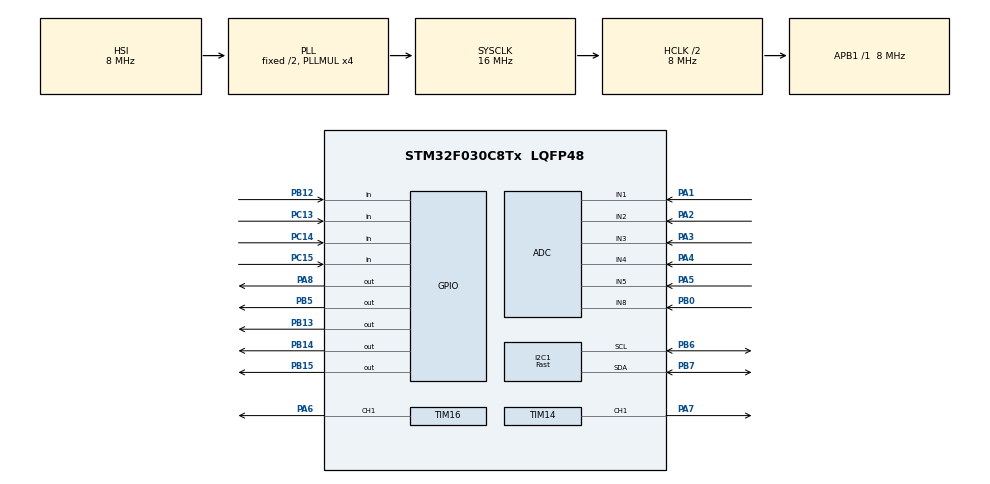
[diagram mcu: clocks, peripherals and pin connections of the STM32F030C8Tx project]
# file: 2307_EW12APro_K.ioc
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ADC.ClockPrescaler=ADC_CLOCK_SYNC_PCLK_DIV4
ADC.SamplingTime=ADC_SAMPLETIME_239CYCLES_5
Dma.ADC.0.Direction=DMA_PERIPH_TO_MEMORY
Dma.ADC.0.Instance=DMA1_Channel1
Dma.ADC.0.MemDataAlignment=DMA_MDATAALIGN_HALFWORD
Dma.ADC.0.MemInc=DMA_MINC_ENABLE
Dma.ADC.0.Mode=DMA_NORMAL
Dma.ADC.0.PeriphDataAlignment=DMA_PDATAALIGN_HALFWORD
Dma.ADC.0.PeriphInc=DMA_PINC_DISABLE
Dma.ADC.0.Priority=DMA_PRIORITY_LOW
Dma.Request0=ADC
I2C1.I2C_Speed_Mode=I2C_Fast
I2C1.Timing=0x0000020B
Mcu.Family=STM32F0
Mcu.Name=STM32F030C8Tx
Mcu.Package=LQFP48
NVIC.DMA1_Channel1_IRQn=true\:0\:0\:false\:false\:true\:false\:true\:true
NVIC.TIM14_IRQn=true\:0\:0\:false\:false\:true\:true\:true\:true
NVIC.TIM6_IRQn=true\:0\:0\:false\:false\:true\:true\:true\:true
PA1.Mode=IN1
PA1.Signal=ADC_IN1
PA13.Mode=Serial_Wire
PA13.Signal=SYS_SWDIO
PA14.Mode=Serial_Wire
PA14.Signal=SYS_SWCLK
PA2.Mode=IN2
PA2.Signal=ADC_IN2
PA3.Mode=IN3
PA3.Signal=ADC_IN3
PA4.Mode=IN4
PA4.Signal=ADC_IN4
PA5.Mode=IN5
PA5.Signal=ADC_IN5
PA6.Signal=S_TIM16_CH1
PA7.Signal=S_TIM14_CH1
PA8.Signal=GPIO_Output
PB0.Mode=IN8
PB0.Signal=ADC_IN8
PB12.Signal=GPIO_Input
PB13.Signal=GPIO_Output
PB14.Signal=GPIO_Output
PB15.Signal=GPIO_Output
PB5.Signal=GPIO_Output
PB6.GPIO_Pu=GPIO_PULLUP
PB6.Mode=I2C
PB6.Signal=I2C1_SCL
PB7.GPIO_Pu=GPIO_PULLUP
PB7.Mode=I2C
PB7.Signal=I2C1_SDA
PC13.Signal=GPIO_Input
PC14-OSC32_IN.Signal=GPIO_Input
PC15-OSC32_OUT.Signal=GPIO_Input
ProjectManager.HeapSize=0x200
ProjectManager.StackSize=0x400
ProjectManager.TargetToolchain=STM32CubeIDE
RCC.AHBCLKDivider=RCC_SYSCLK_DIV2
RCC.AHBFreq_Value=8000000
RCC.APB1Freq_Value=8000000
RCC.APB1TimFreq_Value=8000000
RCC.HCLKFreq_Value=8000000
RCC.PLLMUL=RCC_PLL_MUL4
RCC.SYSCLKFreq_VALUE=16000000
RCC.SYSCLKSource=RCC_SYSCLKSOURCE_PLLCLK
SH.S_TIM14_CH1.0=TIM14_CH1,PWM Generation1 CH1
SH.S_TIM16_CH1.0=TIM16_CH1,PWM Generation1 CH1
TIM14.Channel=TIM_CHANNEL_1
TIM14.Period=9999
TIM14.Prescaler=7
TIM14.Pulse=4999
TIM16.Channel=TIM_CHANNEL_1
TIM16.Period=9999
TIM16.Prescaler=7
TIM16.Pulse=4999
TIM6.Period=9999
TIM6.Prescaler=779
VP_ADC_TempSens_Input.Mode=IN-TempSens
VP_ADC_Vref_Input.Mode=IN-Vrefint
VP_TIM14_VS_ClockSourceINT.Mode=Enable_Timer
VP_TIM16_VS_ClockSourceINT.Mode=Enable_Timer
VP_TIM6_VS_ClockSourceINT.Mode=Enable_Timer
board=custom

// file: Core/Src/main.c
/* USER CODE BEGIN Header */
/**
  ******************************************************************************
  * @file           : main.c
  * @brief          : Main program body
  ******************************************************************************
  * @attention
  *
  * <h2><center>&copy; Copyright (c) 2020 STMicroelectronics.
  * All rights reserved.</center></h2>
  *
  * This software component is licensed by ST under BSD 3-Clause license,
  * the "License"; You may not use this file except in compliance with the
  * License. You may obtain a copy of the License at:
  *                        opensource.org/licenses/BSD-3-Clause
  *
  ******************************************************************************
  */
/* USER CODE END Header */
#include "main.h"
#include "adc.h"
#include "dma.h"
#include "i2c.h"
#include "tim.h"
#include "gpio.h"

/* USER CODE BEGIN Includes */

#include "sc8915.h"
#include "OLED_SSD1306.h"
#include <stdio.h>

/* USER CODE END Includes */

/* USER CODE BEGIN PV */
uint16_t ccr = 0;
volatile uint16_t adcval[8];
char RcvData[32];
char* currentline;
int nError = 0;
int gCount_SCREEN_IDLE_TIME = 0;
int gCount_FullMode_setting_Time = 0;

/* USER CODE END PV */

void SystemClock_Config(void);
/* USER CODE BEGIN PFP */

//void SC8915_W_Command(uint8_t cmd , uint8_t data);
//void SC8915_R_DATA(uint8_t reg, uint8_t* data_buffer, uint16_t buffer_size);

/* USER CODE END PFP */

int main(void)
{
  /* USER CODE BEGIN 1 */
  int count_acc = 0;
  int i;
//  uint8_t page,column;
  uint8_t read_buff[10]={0};
  int mV_VBUS = 0,mV_VBAT = 0,mA_IBUS = 0,mA_IBAT = 0;
  currentline = RcvData;

  int old_ModeOfSwitch = 0;
  /* USER CODE END 1 */

  /* MCU Configuration--------------------------------------------------------*/

  /* Reset of all peripherals, Initializes the Flash interface and the Systick. */
  HAL_Init();

  /* Configure the system clock */
  SystemClock_Config();

  /* Initialize all configured peripherals */
  MX_GPIO_Init();
  MX_DMA_Init();
  MX_I2C1_Init();
  MX_TIM14_Init();
  MX_TIM16_Init();
  MX_ADC_Init();
  MX_TIM6_Init();
  /* USER CODE BEGIN 2 */

  HAL_TIM_PWM_Start(&htim14 , TIM_CHANNEL_1);
  HAL_TIM_PWM_Start(&htim16 , TIM_CHANNEL_1);
  HAL_TIM_Base_Start_IT(&htim14); // 10ms interrupt
  HAL_TIM_Base_Start_IT(&htim6);  // 1s interrupt

  IN_EN1_voltage_Off();
  IN_EN2_voltage_Off();
  OUT_EN_voltage_Off();
  SC8915_PSTOP_Off();

  OLED_Init();
  OLED_Screen_Clear();

  TIM16->CCR1 = 0;

//  SC8915_init();
  HAL_Delay(10);

//  OLED_image_test_ener();
//  OLED_image_test_iROAD();
  OLED_image_Loading();
//  HAL_Delay(1000);
  OLED_Screen_Clear();
  OLED_SetScreenOn(); // 2021.04.05
  /* USER CODE END 2 */

  /* Infinite loop */
  /* USER CODE BEGIN WHILE */
  while (1)
  {
	if(isSwitchFirstMode())
	{
		if(old_ModeOfSwitch != 1)
		{
			gCount_SCREEN_IDLE_TIME = 0;
			old_ModeOfSwitch = 1;
		}
		OLED_SCREEN_ON();
		if( is_IN_EN_ON() )
//			if(isACC1on())
		{
			if (gCount_FullMode_setting_Time >= FULLMODE_ACTION_TEME){
				SC8915_FULL_mode();
			}
			else{
				SC8915_HALF_mode();
			}
			HAL_Delay(10);
			SC8915_R_DATA(0x0D, &read_buff[0],10);
			HAL_Delay(10);
//			if(isSwitchFullMode())
			gCount_SCREEN_IDLE_TIME = 0;
		}
		else if(isBATon())
		{
			SC8915_HALF_mode();
			HAL_Delay(10);
			SC8915_R_DATA(0x0D, &read_buff[0],10);
			HAL_Delay(10);

//			if(isSwitchFullMode())
//				gCount_SCREEN_IDLE_TIME = 0;
		}
		else
		{
			for(i=0;i<10;i++)
				read_buff[i]=0;
		}
		Set_OUT_EN_ON();
//		OLED_display_string(0, 54, "FULL");
//		OLED_Screen_Clean(2, 54, 24);
	}
	else //if(isSwitchHalfMode())
	{
		if(old_ModeOfSwitch != 2)
		{
			gCount_SCREEN_IDLE_TIME = 0;
			old_ModeOfSwitch = 2;
		}
		OLED_SCREEN_ON();
//		if( is_IN_EN2_ON() )
//			if(isACC2on())
		if( is_IN_EN_ON() )
		{
			SC8915_7A_mode();
			HAL_Delay(10);
			SC8915_R_DATA(0x0D, &read_buff[0],10);
			HAL_Delay(10);
			gCount_SCREEN_IDLE_TIME = 0;
		}
		else if(isBATon())
		{
			SC8915_HALF_mode();
			HAL_Delay(10);
			SC8915_R_DATA(0x0D, &read_buff[0],10);
			HAL_Delay(10);
//			gCount_SCREEN_IDLE_TIME = 0;
		}
		else
		{
			for(i=0;i<10;i++)
				read_buff[i]=0;
		}
		Set_OUT_EN_ON();
	}

//	SC8915_R_DATA(0x00, &read_buff[0],1);
//	SC8915_R_DATA(0x0D, &read_buff[0],10);

//	HAL_Delay(100);

//	SC8915_R_DATA(0x00, &read_buff[0],1);
//
	// Display VBUS
//	OLED_display_string(1, 49, "I");
	mV_VBUS = VBUS_mV_converter(read_buff[0],read_buff[1] );
//	OLED_display_V_Num11x16(1, 56, mV_VBUS);

	// Display IBUS
//	mA_IBUS = IBUS_mA_converter(read_buff[4],read_buff[5]);
//	OLED_display_A(2, 102, mA_IBUS);

	// display VBAT
//	OLED_display_string(3, 49, "O");
	mV_VBAT = VBAT_mV_converter(read_buff[2],read_buff[3]);
	OLED_display_V_Num11x16(2, 86, mV_VBAT);

	// Display IBAT
	mA_IBAT = IBAT_mA_converter(read_buff[6],read_buff[7]);
	OLED_display_A(5, 102, mA_IBAT);

	// display MCU ADC data.
//	if(isSwitchFullMode())
	if(1)
	{
		OLED_display_string(2, 0, "ACC");
		sprintf(currentline,"%03d",mcuADCto_mV(adcval[0]));
		OLED_display_string_100m(2,20,currentline);

		OLED_display_string(0, 0, "VCC");
		sprintf(currentline,"%03d",mcuADCto_mV(adcval[1]));
		OLED_display_string_100m(0,20,currentline);
	}
	else// if(isSwitchHalfMode())
	{
		OLED_display_string(0, 0, "Acc2");
		sprintf(currentline,"%03d",mcuADCto_mV(adcval[5]));
		OLED_display_string_100m(0,20,currentline);

		OLED_display_string(2, 0, "Vin2");
		sprintf(currentline,"%03d",mcuADCto_mV(adcval[2]));
		OLED_display_string_100m(2,26,currentline);
	}

//	OLED_display_string(4, 0, "Vout");
//	sprintf(currentline,"%03d",mcuADCto_mV(adcval[3]));
//	OLED_display_string_100m(4,26,currentline);

	OLED_display_string(0, 108, "BAT");

//	OLED_display_string(7, 49, "v");
//	sprintf(currentline,"%03d",mcuADCto_mV(adcval[2]));
//	OLED_display_string_100m(7,55,currentline);

	// temperature

	OLED_display_string(4, 0, "TEM");
//	sprintf(currentline,"%03d",adcval[4]/10);
	sprintf(currentline,"%+03d",/*-2 );*/mcuTemperature(adcval[6]));
//	OLED_display_string_Tem(0,109,currentline);
	OLED_display_string_Tem(4,20,currentline);

	OLED_display_Battery_Icon_wide(6,0,mV_VBAT);

	OLED_display_Version(8,90,nVERSION);

	OLED_display_live_action(8,83);

	if(mcuTemperature(adcval[6]) >= 60)
	{
		count_acc = 0;
		SC8915_PSTOP_Off();
	}

	if(mV_VBUS > 11400)  // 2021.12.08 v2.03 (11400 -> 11200) v2.04 return.
//		if(I_VALUE > 9000)
	{
		count_acc++;
		if(count_acc > 5)
		{
			count_acc=6;
			SC8915_PSTOP_On();
		}
	}
	else
	{
		count_acc = 0;
		SC8915_PSTOP_Off();
	}

	if(count_acc > 5)
	{
//		OLED_display_string(4, 54, "CHAR");
		OLED_W_Icon11x8(2,0,50); // display 'on icon' .
	}
	else
	{
//		OLED_display_string(4, 54, "Wait");
		OLED_W_Icon11x8(0,0,50); // display 'off icon'.
//		OLED_Screen_Clean(4, 54, 24);
//		OLED_Set_Address(4, 54);
//		OLED_W_Num6x8(count_acc);
	}

	HAL_Delay(1000);

    /* USER CODE END WHILE */

  }
}

void SystemClock_Config(void)
{
  RCC_OscInitTypeDef RCC_OscInitStruct = {0};
  RCC_ClkInitTypeDef RCC_ClkInitStruct = {0};
  RCC_PeriphCLKInitTypeDef PeriphClkInit = {0};

  /** Initializes the RCC Oscillators according to the specified parameters
  * in the RCC_OscInitTypeDef structure.
  */
  RCC_OscInitStruct.OscillatorType = RCC_OSCILLATORTYPE_HSI;
  RCC_OscInitStruct.HSIState = RCC_HSI_ON;
  RCC_OscInitStruct.HSICalibrationValue = RCC_HSICALIBRATION_DEFAULT;
  RCC_OscInitStruct.PLL.PLLState = RCC_PLL_ON;
  RCC_OscInitStruct.PLL.PLLSource = RCC_PLLSOURCE_HSI;
  RCC_OscInitStruct.PLL.PLLMUL = RCC_PLL_MUL4;
  RCC_OscInitStruct.PLL.PREDIV = RCC_PREDIV_DIV1;
  if (HAL_RCC_OscConfig(&RCC_OscInitStruct) != HAL_OK)
  {
    Error_Handler();
  }

  /** Initializes the CPU, AHB and APB buses clocks
  */
  RCC_ClkInitStruct.ClockType = RCC_CLOCKTYPE_HCLK|RCC_CLOCKTYPE_SYSCLK
                              |RCC_CLOCKTYPE_PCLK1;
  RCC_ClkInitStruct.SYSCLKSource = RCC_SYSCLKSOURCE_PLLCLK;
  RCC_ClkInitStruct.AHBCLKDivider = RCC_SYSCLK_DIV2;
  RCC_ClkInitStruct.APB1CLKDivider = RCC_HCLK_DIV1;

  if (HAL_RCC_ClockConfig(&RCC_ClkInitStruct, FLASH_LATENCY_0) != HAL_OK)
  {
    Error_Handler();
  }
  PeriphClkInit.PeriphClockSelection = RCC_PERIPHCLK_I2C1;
  PeriphClkInit.I2c1ClockSelection = RCC_I2C1CLKSOURCE_HSI;
  if (HAL_RCCEx_PeriphCLKConfig(&PeriphClkInit) != HAL_OK)
  {
    Error_Handler();
  }
}

/* USER CODE BEGIN 4 */

void HAL_TIM_PeriodElapsedCallback(TIM_HandleTypeDef *htim)
{
	static uint16_t ccr_test = 0;

	if(htim->Instance == TIM14) // 10ms interrupt
	{
		if (ccr_test == 0)
		{
			ccr += 10;
			if(ccr > TIM14->ARR * 1 /3 )
			{
//				ccr = 0;
				ccr_test = 1;
			}
		}
		if(ccr_test == 1)
		{
			ccr -= 10;
			if(ccr < 20 )
			{
				ccr = 0;
				ccr_test = 0;
			}
		}

		if (isSwitchFirstMode() )
		{
			if(isACC1on())
			{
				ccr = TIM14->ARR * 1 /3 ;
			}
			else
			{
// <- version 1.11
				if(gCount_SCREEN_IDLE_TIME >= DELAY_SCREEN_IDLE_TIME)
				{
					ccr = 0;
//					ccr_test = 0;
				}
			}
		}
//		else //if (isSwitchHalfMode() )
//		{
//			if(isACC2on())
//				;
//			else
//			{
//				if(gCount_SCREEN_IDLE_TIME >= DELAY_SCREEN_IDLE_TIME)
//				{
//					ccr = 0;
//					ccr_test = 0;
//				}
//			}
//		}
		else
		{
			ccr = 0;
			ccr_test = 0;
		}

		TIM14->CCR1 = ccr;
		TIM16->CCR1 = ccr;

		HAL_ADC_Start_DMA(&hadc, &adcval[0], 8);

	}

	if(htim->Instance == TIM6) // 1s interrupt
	{
//		HAL_ADC_Start_DMA(&hadc, &adcval[0], 8);
		gCount_SCREEN_IDLE_TIME++;
		if(gCount_SCREEN_IDLE_TIME >= DELAY_SCREEN_IDLE_TIME)
			gCount_SCREEN_IDLE_TIME = DELAY_SCREEN_IDLE_TIME;

		if( is_IN_EN_ON() )
//			if( is_IN_EN_ON() && isSwitchFullMode() )
		{
			gCount_FullMode_setting_Time++;
			if(gCount_FullMode_setting_Time >= FULLMODE_ACTION_TEME)
				gCount_FullMode_setting_Time = FULLMODE_ACTION_TEME;

		}
		else
		{
			gCount_FullMode_setting_Time = 0;
		}
	}

//	if(htim->Instance == TIM16)
//	{
//		if(ccr_test == 1)
//		{
//			ccr -= 500;
//			TIM14->CCR1 = ccr;
//			if(ccr <= 500)
//			{
//	//			ccr = 0;
//				ccr_test = 0;
//			}
//		}
//	}

}

void HAL_ADC_ConvCpltCallback(ADC_HandleTypeDef* hadc)
{

//	InPut_voltage_Enable(adcval[0],adcval[5]);
//	SET_INPUT_Enable();
	SET_INPUT_Enable2();
//	if(hadc->Instance == hadc.Instance)
//	{
//		;
//	}
}

/* USER CODE END 4 */

void Error_Handler(void)
{
  /* USER CODE BEGIN Error_Handler_Debug */
  /* User can add his own implementation to report the HAL error return state */

//	HAL_GPIO_WritePin(GPIOA, GPIO_PIN_6, GPIO_PIN_SET);
	TIM16->CCR1 = TIM16->ARR / 4;

  /* USER CODE END Error_Handler_Debug */
}
